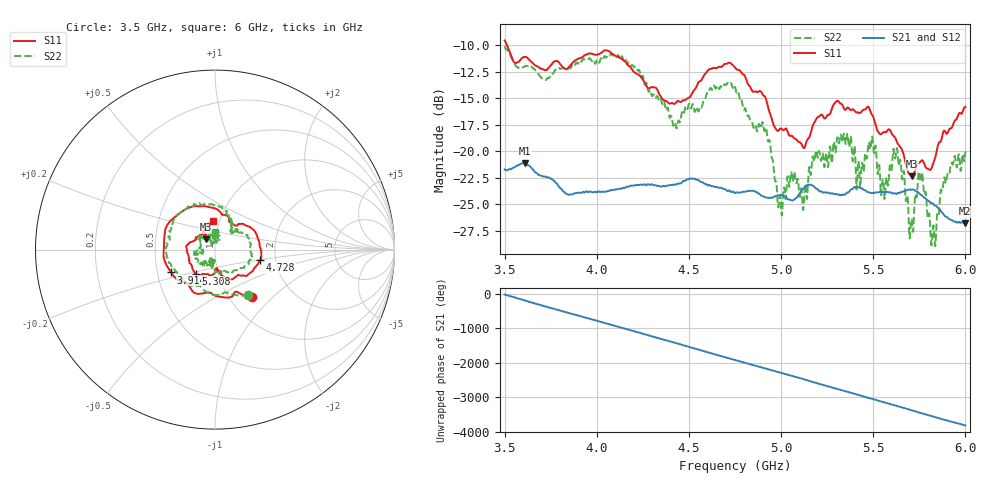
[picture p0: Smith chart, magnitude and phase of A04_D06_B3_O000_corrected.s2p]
! Created with skrf 1.9.0 (http://scikit-rf.org).
# Hz S RI R 50.0
!freq ReS11 ImS11 ReS21 ImS21 ReS12 ImS12 ReS22 ImS22
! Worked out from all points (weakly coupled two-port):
!   1601 points, 3.5 GHz to 6 GHz, reference 50 ohm
!   highest |S21| = -21.12 dB at 3.609 GHz (marker M1); lowest = -26.8 dB at 5.995 GHz (marker M2)
!   lowest |S11| = -22.4 dB at 5.709 GHz (marker M3), VSWR 1.16, Z = 44.9 + j5.18 ohm
!   |S11| at or under -10 dB: 3.513 GHz to end of sweep
!   |S22| runs from -29.0 to -10.1 dB; largest |S21 - S12| = 0.00098
!   S11 on the Smith chart (normalised r, x): 3.5 GHz: 1.27, -0.75; 3.914 GHz: 0.59, -0.16; 4.728 GHz: 1.66, -0.21; 5.308 GHz: 0.78, -0.22; 6 GHz: 0.93, +0.31
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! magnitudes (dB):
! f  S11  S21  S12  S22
! 3.5 GHz  -9.6  -21.7  -21.7  -10.1
! 3.609 GHz  -11.1  -21.1  -21.1  -12.0
! 3.914 GHz  -11.2  -23.9  -23.9  -11.5
! 3.917 GHz  -11.2  -23.9  -23.9  -11.5
! 4.334 GHz  -14.4  -23.3  -23.2  -15.1
! 4.427 GHz  -15.5  -23.2  -23.1  -17.4
! 4.728 GHz  -11.7  -23.9  -23.7  -13.6
! 4.75 GHz  -12.1  -24.0  -23.9  -13.9
! 4.911 GHz  -14.8  -24.3  -24.3  -18.1
! 4.994 GHz  -17.9  -24.2  -24.1  -24.2
! 5.062 GHz  -18.6  -24.7  -24.6  -22.9
! 5.13 GHz  -19.6  -23.4  -23.3  -23.3
! 5.167 GHz  -17.8  -23.2  -23.2  -21.1
! 5.308 GHz  -15.3  -24.1  -24.0  -18.8
! 5.584 GHz  -17.9  -23.9  -23.8  -22.5
! 5.638 GHz  -19.4  -23.9  -23.9  -21.2
! 5.709 GHz  -22.4  -23.6  -23.5  -26.5
! 5.756 GHz  -21.0  -24.1  -24.0  -22.9
! 5.827 GHz  -21.1  -25.0  -25.0  -27.0
! 5.878 GHz  -18.3  -25.9  -25.8  -23.3
! 5.995 GHz  -15.8  -26.8  -26.7  -20.8
! 6 GHz  -15.8  -26.8  -26.7  -20.0
